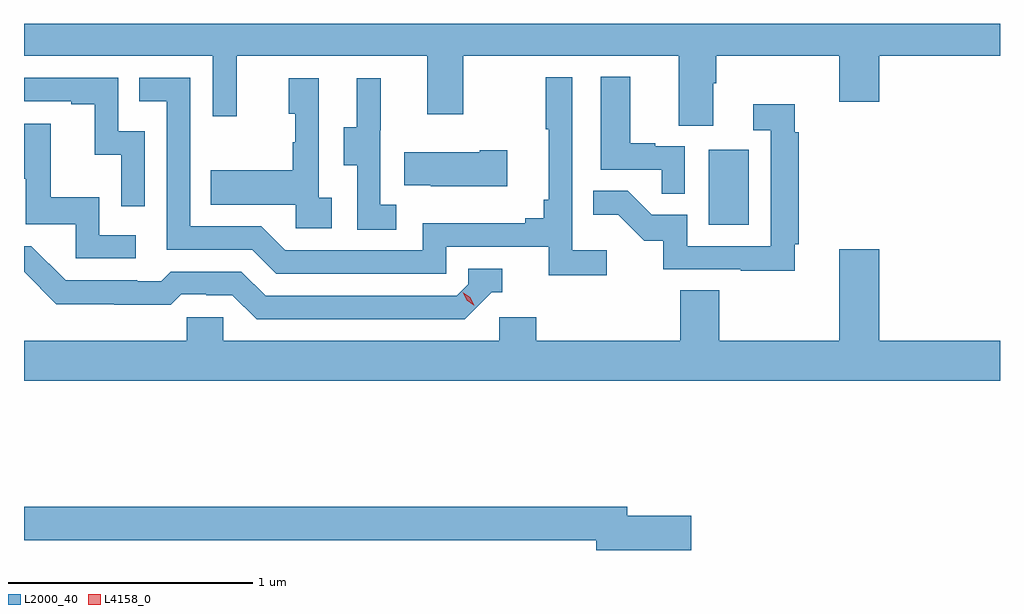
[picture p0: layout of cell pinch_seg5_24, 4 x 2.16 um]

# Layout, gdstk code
import gdstk
lib = gdstk.Library(unit=1e-6, precision=1e-09)
def R(c, l, rs):  # rectangles x0, y0, x1, y1
    for r in rs: c.add(gdstk.rectangle(r[:2], r[2:], *l))
def P(c, l, *ps):  # polygons
    for p in ps: c.add(gdstk.Polygon(p, *l))
L2000_40 = (2000, 40)
L4158_0 = (4158, 0)

pinch_seg5_24 = lib.new_cell('pinch_seg5_24')
R(pinch_seg5_24, L2000_40, [(1123.514,914.676,1123.678,914.983)])
P(pinch_seg5_24, L2000_40, [(1123.531,915.256),(1123.544,915.256),(1123.544,915.368),(1124.048,915.368),(1124.048,915.18),(1124.212,915.18),(1124.212,915.368),(1124.707,915.368),(1124.707,915.5),(1120.707,915.5),(1120.707,915.368),(1121.481,915.368),(1121.481,915.12),(1121.579,915.12),(1121.579,915.368),(1122.359,915.368),(1122.359,915.129),(1122.507,915.129),(1122.507,915.368),(1123.391,915.368),(1123.391,915.082),(1123.531,915.082)],
  [(1123.416,914.997),(1123.295,914.997),(1123.295,915.01),(1123.192,915.01),(1123.192,915.283),(1123.07,915.283),(1123.07,914.901),(1123.321,914.901),(1123.321,914.803),(1123.416,914.803)],
  [(1123.096,914.572),(1122.954,914.572),(1122.954,915.28),(1122.846,915.28),(1122.846,915.067),(1122.857,915.067),(1122.857,914.779),(1122.838,914.779),(1122.838,914.702),(1122.761,914.702),(1122.761,914.683),(1122.342,914.683),(1122.342,914.571),(1121.778,914.571),(1121.679,914.67),(1121.388,914.67),(1121.388,915.279),(1121.179,915.279),(1121.179,915.183),(1121.292,915.183),(1121.292,914.574),(1121.642,914.574),(1121.741,914.475),(1122.438,914.475),(1122.438,914.586),(1122.857,914.586),(1122.857,914.47),(1123.096,914.47)],
  [(1121.202,915.06),(1121.094,915.06),(1121.094,915.279),(1120.707,915.279),(1120.707,915.183),(1120.901,915.183),(1120.901,915.171),(1120.997,915.171),(1120.997,914.963),(1121.106,914.963),(1121.106,914.751),(1121.202,914.751)],
  [(1121.968,914.786),(1121.916,914.786),(1121.916,915.277),(1121.792,915.277),(1121.792,915.132),(1121.818,915.132),(1121.818,915.014),(1121.808,915.014),(1121.808,914.899),(1121.473,914.899),(1121.473,914.759),(1121.82,914.759),(1121.82,914.661),(1121.968,914.661)],
  [(1122.232,914.759),(1122.168,914.759),(1122.168,915.063),(1122.17,915.063),(1122.17,915.277),(1122.071,915.277),(1122.071,915.075),(1122.017,915.075),(1122.017,914.92),(1122.072,914.92),(1122.072,914.656),(1122.232,914.656)],
  [(1123.865,914.596),(1123.883,914.596),(1123.883,915.056),(1123.865,915.056),(1123.865,915.169),(1123.695,915.169),(1123.695,915.063),(1123.767,915.063),(1123.767,914.589),(1123.425,914.589),(1123.425,914.718),(1123.28,914.718),(1123.182,914.816),(1123.039,914.816),(1123.039,914.717),(1123.143,914.717),(1123.25,914.61),(1123.327,914.61),(1123.327,914.493),(1123.645,914.493),(1123.645,914.488),(1123.865,914.488)],
  [(1121.164,914.634),(1121.016,914.634),(1121.016,914.788),(1120.817,914.788),(1120.817,915.091),(1120.707,915.091),(1120.707,914.865),(1120.715,914.865),(1120.715,914.679),(1120.92,914.679),(1120.92,914.538),(1121.164,914.538)],
  [(1122.688,914.982),(1122.575,914.982),(1122.575,914.974),(1122.265,914.974),(1122.265,914.837),(1122.373,914.837),(1122.373,914.834),(1122.688,914.834)],
  [(1122.624,914.4),(1122.667,914.4),(1122.667,914.496),(1122.528,914.496),(1122.528,914.433),(1122.48,914.385),(1121.697,914.385),(1121.598,914.484),(1121.309,914.484),(1121.27,914.445),(1121.171,914.445),(1121.171,914.448),(1120.878,914.448),(1120.737,914.589),(1120.707,914.589),(1120.707,914.484),(1120.84,914.351),(1121.076,914.351),(1121.076,914.349),(1121.309,914.349),(1121.351,914.391),(1121.454,914.391),(1121.454,914.388),(1121.561,914.388),(1121.66,914.289),(1122.513,914.289)],
  [(1124.707,914.2),(1124.212,914.2),(1124.212,914.575),(1124.048,914.575),(1124.048,914.2),(1123.557,914.2),(1123.557,914.408),(1123.397,914.408),(1123.397,914.2),(1122.806,914.2),(1122.806,914.298),(1122.654,914.298),(1122.654,914.2),(1121.523,914.2),(1121.523,914.298),(1121.373,914.298),(1121.373,914.2),(1120.707,914.2),(1120.707,914.036),(1124.707,914.036)],
  [(1123.441,913.484),(1123.18,913.484),(1123.18,913.52),(1120.707,913.52),(1120.707,913.384),(1123.052,913.384),(1123.052,913.342),(1123.441,913.342)])
P(pinch_seg5_24, L4158_0, [(1122.551,914.347),(1122.521,914.367),(1122.505,914.4),(1122.505,914.4),(1122.505,914.4),(1122.536,914.38),(1122.552,914.347),(1122.552,914.347)])

lib.write_gds('pinch_seg5_24.gds')
